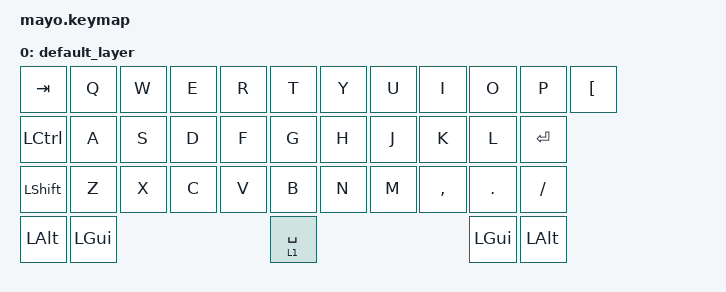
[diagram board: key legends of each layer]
/*
 * Copyright (c) 2021 Nick Winans
 *
 * SPDX-License-Identifier: MIT
 */

#include <behaviors.dtsi>
#include <dt-bindings/zmk/keys.h>
#include <dt-bindings/zmk/rgb.h>
#include <dt-bindings/zmk/bt.h>
#include <dt-bindings/zmk/outputs.h>
#include <dt-bindings/zmk/ext_power.h>

/ {
  keymap {
    compatible = "zmk,keymap";
    
    default_layer {
        // ----------------------------------------------------------------------------------------------------------
        // | F1  | ESC |  1  |  2  |  3  |  4  |  5  |  6  |  7  |  8  |  9  |  0  |  -  |  =  |   BKSP   | HOME    |
        // | F2  | TAB  |  Q  |  W  |  E  |  R  |  T  |  Y  |  U  |  I  |  O  |  P  |  [  |  ]  |   "|"   | PG UP   |
        // | F3  | CAPS  |  A  |  S  | D  |  F  |  G  |  H  |  J  |  K  |  L  |  ;  |  '  |     ENTER     | PG DOWN |
        // | F4  |  SHIFT | SHIFT |  Z  |  X  |  C  |  V  |  B  |  N  |  M  |  ,  |  .  |  /  |   SHIFT  |  UP   | END     |
        // | F5  |  CTL  |  ALT  |  WIN  |                SPACE MO(1)   | MO(1)|  MO(2)  |  LEFT  |  DOWN | RIGHT   |
        // ----------------------------------------------------------------------------------------------------------
      bindings = <
        &kp TAB     &kp Q    &kp W    &kp E    &kp R    &kp T    &kp Y    &kp U    &kp I      &kp O    &kp P     &kp LBKT   
        &kp LCTRL   &kp A    &kp S    &kp D    &kp F    &kp G    &kp H    &kp J    &kp K      &kp L    &kp RET    
        &kp LSHFT   &kp Z    &kp X    &kp C    &kp V    &kp B    &kp N    &kp M    &kp COMMA  &kp DOT  &kp FSLH          
        &kp LALT    &kp LGUI                            &lt 1 SPACE                           &kp LGUI &kp LALT 
      >;
    };

  };
};
